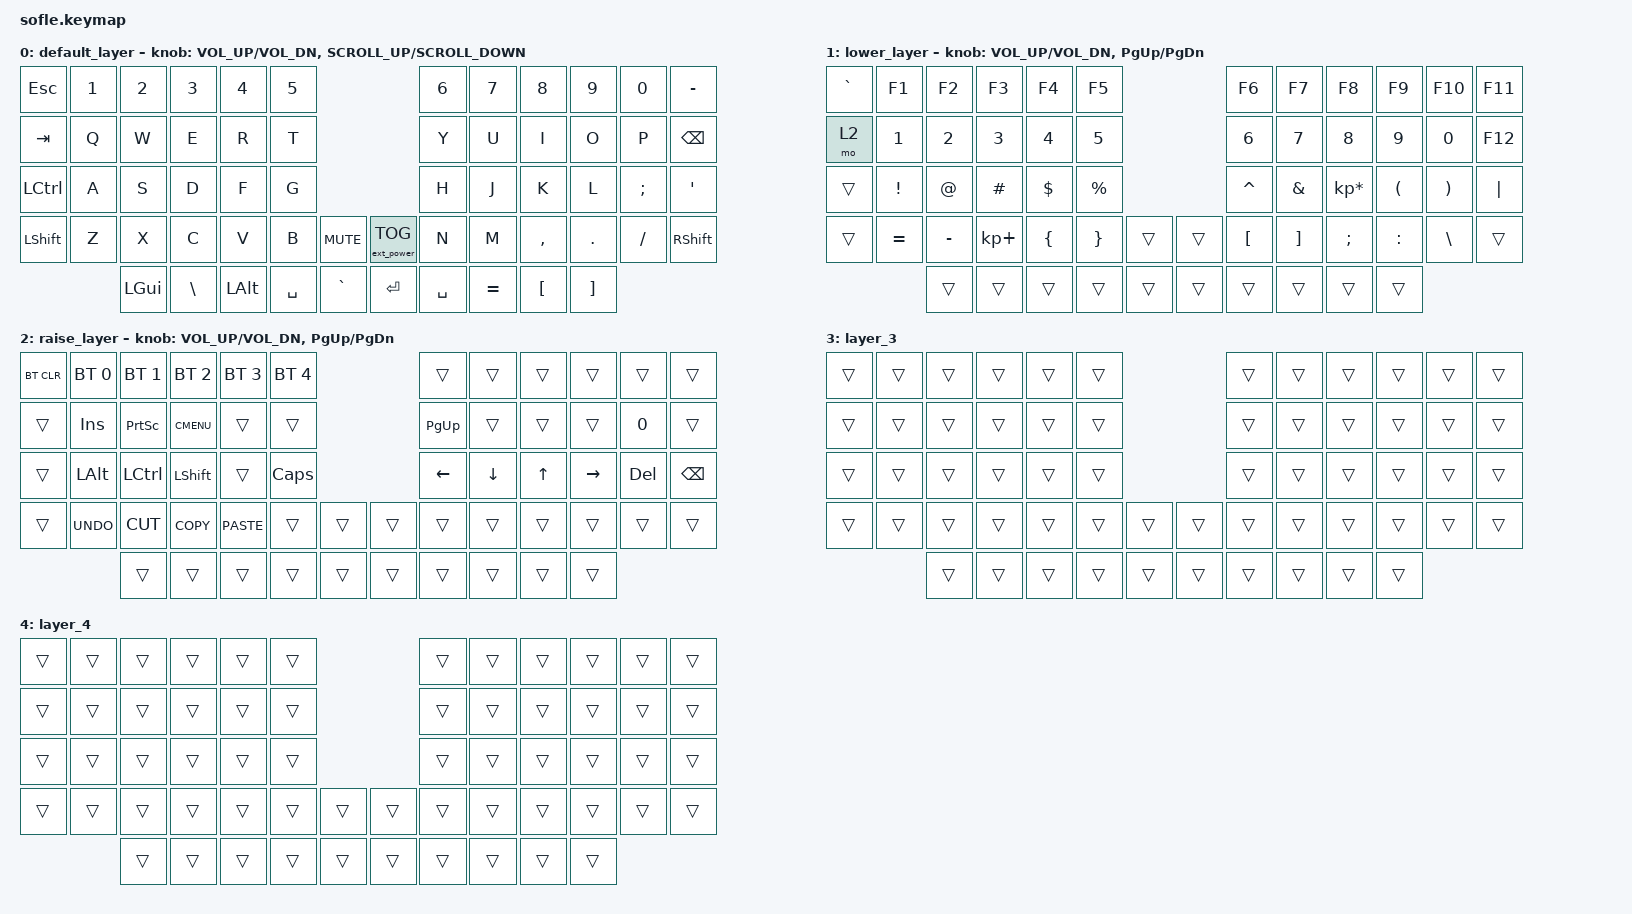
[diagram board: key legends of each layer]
/*
 * Copyright (c) 2020 The ZMK Contributors
 *
 * SPDX-License-Identifier: MIT
 */

#include <behaviors.dtsi>
#include <dt-bindings/zmk/bt.h>
#include <dt-bindings/zmk/ext_power.h>
#include <dt-bindings/zmk/keys.h>

/ {
    keymap {
        compatible = "zmk,keymap";

        default_layer {
            // ------------------------------------------------------------------------------------------------------------
            // |  `    |  1  |  2  |  3   |  4   |  5   |                   |  6   |  7    |  8    |  9   |   0   |       |
            // |  ESC  |  Q  |  W  |  E   |  R   |  T   |                   |  Y   |  U    |  I    |  O   |   P   | BKSPC |
            // |  TAB  |  A  |  S  |  D   |  F   |  G   |                   |  H   |  J    |  K    |  L   |   ;   |   '   |
            // | SHIFT |  Z  |  X  |  C   |  V   |  B   |  MUTE  |  |       |  N   |  M    |  ,    |  .   |   /   | SHIFT |
            //               | GUI | ALT  | CTRL | LOWER|  ENTER |  | SPACE | RAISE| CTRL  | ALT   | GUI  |

            bindings = <
&kp ESCAPE        &kp N1  &kp N2        &kp N3         &kp N4        &kp N5                                      &kp N6     &kp N7     &kp N8            &kp N9             &kp N0    &kp MINUS
&kp TAB           &kp Q   &kp W         &kp E          &kp R         &kp T                                       &kp Y      &kp U      &kp I             &kp O              &kp P     &kp BSPC
&kp LEFT_CONTROL  &kp A   &kp S         &kp D          &kp F         &kp G                                       &kp H      &kp J      &kp K             &kp L              &kp SEMI  &kp SQT
&kp LSHFT         &kp Z   &kp X         &kp C          &kp V         &kp B      &kp C_MUTE    &ext_power EP_TOG  &kp N      &kp M      &kp COMMA         &kp DOT            &kp FSLH  &kp RSHFT
                          &kp LEFT_GUI  &kp BACKSLASH  &kp LEFT_ALT  &kp SPACE  &kp GRAVE     &kp ENTER          &kp SPACE  &kp EQUAL  &kp LEFT_BRACKET  &kp RIGHT_BRACKET
            >;

            sensor-bindings =
                <&inc_dec_kp C_VOL_UP C_VOL_DN>,
                <&inc_dec_kp K_SCROLL_UP K_SCROLL_DOWN>;
        };

        lower_layer {
            // TODO: Some binds are waiting for shifted keycode support.
            // ------------------------------------------------------------------------------------------------------------
            // | `     |  F1 |  F2 |  F3  |  F4  |  F5  |                   |  F6  |  F7   |  F8   |  F9  |  F10  |  F11  |
            // | RAISE |   1 |   2 |   3  |   4  |   5  |                   |   6  |   7   |   8   |   9  |    0  |  F12  |
            // |       |  !  |  @  |  #   |  $   |  %   |                   |  ^   |  &    |  *    |  (   |   )   |   |   |
            // |       |  =  |  -  |  +   |  {   |  }   |        |  |       |  [   |  ]    |  ;    |  :   |   \   |       |
            //               |     |      |      |      |        |  |       |      |       |       |      |

            bindings = <
&kp GRAVE  &kp F1     &kp F2     &kp F3       &kp F4    &kp F5                       &kp F6     &kp F7    &kp F8           &kp F9     &kp F10   &kp F11
&mo 2      &kp N1     &kp N2     &kp N3       &kp N4    &kp N5                       &kp N6     &kp N7    &kp N8           &kp N9     &kp N0    &kp F12
&trans     &kp EXCL   &kp AT     &kp HASH     &kp DLLR  &kp PRCNT                    &kp CARET  &kp AMPS  &kp KP_MULTIPLY  &kp LPAR   &kp RPAR  &kp PIPE
&trans     &kp EQUAL  &kp MINUS  &kp KP_PLUS  &kp LBRC  &kp RBRC   &trans    &trans  &kp LBKT   &kp RBKT  &kp SEMI         &kp COLON  &kp BSLH  &trans
                      &trans     &trans       &trans    &trans     &trans    &trans  &trans     &trans    &trans           &trans
            >;

            sensor-bindings = <&inc_dec_kp C_VOL_UP C_VOL_DN &inc_dec_kp PG_UP PG_DN>;
        };

        raise_layer {
            // ------------------------------------------------------------------------------------------------------------
            // |BTCLR| BT1  | BT2  |  BT3  |  BT4  |  BT5 |                |      |      |       |      |       |       |
            // |     | INS  | PSCR | GUI   |       |      |                | PGUP |      |       |      |       |       |
            // |     | ALT  | CTRL | SHIFT |       | CAPS |                |  <-  |   v  |   ^   |  ->  |  DEL  | BKSPC |
            // |     | UNDO | CUT  | COPY  | PASTE |      |      |  |      |      |      |       |      |       |       |
            //              |      |       |       |      |      |  |      |      |      |       |      |

            bindings = <
&bt BT_CLR  &bt BT_SEL 0  &bt BT_SEL 1  &bt BT_SEL 2  &bt BT_SEL 3  &bt BT_SEL 4                    &trans     &trans    &trans  &trans     &trans   &trans
&trans      &kp INS       &kp PSCRN     &kp K_CMENU   &trans        &trans                          &kp PG_UP  &trans    &trans  &trans     &kp N0   &trans
&trans      &kp LALT      &kp LCTRL     &kp LSHFT     &trans        &kp CLCK                        &kp LEFT   &kp DOWN  &kp UP  &kp RIGHT  &kp DEL  &kp BSPC
&trans      &kp K_UNDO    &kp K_CUT     &kp K_COPY    &kp K_PASTE   &trans        &trans    &trans  &trans     &trans    &trans  &trans     &trans   &trans
                          &trans        &trans        &trans        &trans        &trans    &trans  &trans     &trans    &trans  &trans
            >;

            sensor-bindings = <&inc_dec_kp C_VOL_UP C_VOL_DN &inc_dec_kp PG_UP PG_DN>;
        };

        layer_3 {
            bindings = <
&trans  &trans  &trans  &trans  &trans  &trans                    &trans  &trans  &trans  &trans  &trans  &trans
&trans  &trans  &trans  &trans  &trans  &trans                    &trans  &trans  &trans  &trans  &trans  &trans
&trans  &trans  &trans  &trans  &trans  &trans                    &trans  &trans  &trans  &trans  &trans  &trans
&trans  &trans  &trans  &trans  &trans  &trans  &trans    &trans  &trans  &trans  &trans  &trans  &trans  &trans
                &trans  &trans  &trans  &trans  &trans    &trans  &trans  &trans  &trans  &trans
            >;
        };

        layer_4 {
            bindings = <
&trans  &trans  &trans  &trans  &trans  &trans                    &trans  &trans  &trans  &trans  &trans  &trans
&trans  &trans  &trans  &trans  &trans  &trans                    &trans  &trans  &trans  &trans  &trans  &trans
&trans  &trans  &trans  &trans  &trans  &trans                    &trans  &trans  &trans  &trans  &trans  &trans
&trans  &trans  &trans  &trans  &trans  &trans  &trans    &trans  &trans  &trans  &trans  &trans  &trans  &trans
                &trans  &trans  &trans  &trans  &trans    &trans  &trans  &trans  &trans  &trans
            >;
        };
    };
};
